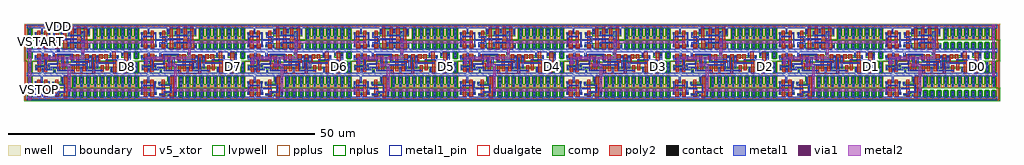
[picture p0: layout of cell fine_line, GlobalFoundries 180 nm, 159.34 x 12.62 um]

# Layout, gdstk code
import gdstk
lib = gdstk.Library(unit=1e-6, precision=1e-09)
def R(c, l, rs):  # rectangles x0, y0, x1, y1
    for r in rs: c.add(gdstk.rectangle(r[:2], r[2:], *l))
def A(c, l, x, y, w, h, nx, ny, dx, dy):  # array of equal rectangles
    R(c, l, [(x+i*dx, y+j*dy, x+i*dx+w, y+j*dy+h) for i in range(nx) for j in range(ny)])
def P(c, l, *ps):  # polygons
    for p in ps: c.add(gdstk.Polygon(p, *l))
boundary = (0, 0)
nwell = (21, 0)
comp = (22, 0)
poly2 = (30, 0)
pplus = (31, 0)
nplus = (32, 0)
contact = (33, 0)
metal1 = (34, 0)
metal1_pin = (34, 10)
via1 = (35, 0)
metal2 = (36, 0)
dualgate = (55, 0)
v5_xtor = (112, 1)
lvpwell = (204, 0)

gf180mcu_fd_sc_mcu7t5v0_ = lib.new_cell('gf180mcu_fd_sc_mcu7t5v0__dlya_1')
R(gf180mcu_fd_sc_mcu7t5v0_, boundary, [(0,0,6.16,3.92)])
R(gf180mcu_fd_sc_mcu7t5v0_, nwell, [(-0.43,1.76,6.59,4.35)])
R(gf180mcu_fd_sc_mcu7t5v0_, comp, [(0.18,0.63,2.78,0.99), (0.18,2.475,2.68,2.835)])
P(gf180mcu_fd_sc_mcu7t5v0_, comp, [(4.48,0.34),(4.48,0.47),(3.14,0.47),(3.14,0.83),(4.49,0.83),(4.49,1.16),(5.96,1.16),(5.96,0.34)],
  [(3.04,2.36),(3.04,2.72),(4.49,2.72),(4.49,3.58),(5.96,3.58),(5.96,2.36)])
P(gf180mcu_fd_sc_mcu7t5v0_, poly2, [(0.62,0.41),(0.62,3.055),(1.12,3.055),(1.12,1.415),(1.22,1.415),(1.22,0.41)],
  [(1.74,0.41),(1.74,3.055),(2.24,3.055),(2.24,1.415),(2.34,1.415),(2.34,0.41)],
  [(3.58,0.25),(3.58,3.055),(4.08,3.055),(4.08,1.74),(4.18,1.74),(4.18,0.25)],
  [(4.92,0.12),(4.92,1.985),(5.02,1.985),(5.02,3.8),(5.52,3.8),(5.52,0.12)])
R(gf180mcu_fd_sc_mcu7t5v0_, pplus, [(-0.2,1.76,6.36,4.12)])
R(gf180mcu_fd_sc_mcu7t5v0_, nplus, [(-0.2,-0.2,6.36,1.76)])
A(gf180mcu_fd_sc_mcu7t5v0_, contact, 0.25, 0.7, 0.22, 0.22, 3, 1, 1.12, 0)
R(gf180mcu_fd_sc_mcu7t5v0_, contact, [(4.55,0.41,4.77,0.63), (3.21,0.54,3.43,0.76), (5.67,0.865,5.89,1.085), (0.765,1.33,0.985,1.55), (3.78,1.5,4,1.72), (4.99,1.585,5.21,1.805), (1.81,2.03,2.03,2.25), (3.11,2.43,3.33,2.65), (0.25,2.545,0.47,2.765), (1.27,2.545,1.49,2.765), (2.39,2.545,2.61,2.765), (4.65,2.63,4.87,2.85), (5.67,2.63,5.89,2.85), (4.65,3.1,4.87,3.32), (5.67,3.1,5.89,3.32)])
R(gf180mcu_fd_sc_mcu7t5v0_, metal1, [(5.65,0.55,6.02,3.38), (0.705,1.21,1.845,1.61)])
P(gf180mcu_fd_sc_mcu7t5v0_, metal1, [(0.245,0.64),(0.245,2.825),(0.475,2.825),(0.475,2.255),(2.135,2.255),(2.135,2.025),(0.475,2.025),(0.475,0.64)],
  [(2.385,0.64),(2.385,2.825),(2.615,2.825),(2.615,1.725),(4.18,1.725),(4.18,1.495),(2.715,1.495),(2.715,0.64)],
  [(3.145,0.53),(3.145,0.765),(3.87,0.765),(3.87,1.18),(4.985,1.18),(4.985,2.05),(3.105,2.05),(3.105,2.71),(3.335,2.71),(3.335,2.28),(5.215,2.28),(5.215,0.95),(4.105,0.95),(4.105,0.53)],
  [(0,-0.3),(0,0.3),(1.365,0.3),(1.365,0.98),(1.595,0.98),(1.595,0.3),(4.545,0.3),(4.545,0.69),(4.775,0.69),(4.775,0.3),(6.16,0.3),(6.16,-0.3)],
  [(4.645,2.53),(4.645,3.62),(1.55,3.62),(1.55,2.54),(1.21,2.54),(1.21,3.62),(0,3.62),(0,4.22),(6.16,4.22),(6.16,3.62),(4.875,3.62),(4.875,2.53)])
R(gf180mcu_fd_sc_mcu7t5v0_, dualgate, [(-0.28,-0.28,6.44,4.2)])
R(gf180mcu_fd_sc_mcu7t5v0_, v5_xtor, [(0,0,6.16,3.92)])
R(gf180mcu_fd_sc_mcu7t5v0_, lvpwell, [(-0.43,-0.43,6.59,1.76)])
gf180mcu_fd_sc_mcu7t5v0_.add(gdstk.Label('VSS', (1.4,0), layer=34, texttype=10))
gf180mcu_fd_sc_mcu7t5v0_.add(gdstk.Label('Z', (5.88,1.96), layer=34, texttype=10))
gf180mcu_fd_sc_mcu7t5v0_.add(gdstk.Label('I', (1.4,1.4), layer=34, texttype=10))
gf180mcu_fd_sc_mcu7t5v0_.add(gdstk.Label('VDD', (1.4,3.92), layer=34, texttype=10))
gf180mcu_fd_sc_mcu7t5v0_.add(gdstk.Label('& Vendor GLOBALFOUNDRIES', (0,2), layer=63, texttype=63))
gf180mcu_fd_sc_mcu7t5v0_.add(gdstk.Label('& Product GF018hv5v_mcu_sc7', (0,1.5), layer=63, texttype=63))
gf180mcu_fd_sc_mcu7t5v0_.add(gdstk.Label('& Version 2015q2v1', (0,1), layer=63, texttype=63))
gf180mcu_fd_sc_mcu7t5v0_.add(gdstk.Label('& Metric 1.00', (0,0.5), layer=63, texttype=63))
gf180mcu_fd_sc_mcu7t5v0_.add(gdstk.Label('VNW', (0.345,3.92), layer=21, texttype=10))
gf180mcu_fd_sc_mcu7t5v0_.add(gdstk.Label('VPW', (0.34,-0.085), layer=204, texttype=10))

c_gf180mcu_fd_sc_mcu7t5v0_ = lib.new_cell('gf180mcu_fd_sc_mcu7t5v0__endcap')
R(c_gf180mcu_fd_sc_mcu7t5v0_, boundary, [(0,0,1.12,3.92)])
R(c_gf180mcu_fd_sc_mcu7t5v0_, nwell, [(-0.43,1.76,1.55,4.35)])
R(c_gf180mcu_fd_sc_mcu7t5v0_, comp, [(0.28,0.28,0.8,1.28), (0.36,1.92,0.72,3.56)])
R(c_gf180mcu_fd_sc_mcu7t5v0_, pplus, [(0.2,0.2,0.88,1.36)])
P(c_gf180mcu_fd_sc_mcu7t5v0_, pplus, [(-0.2,1.76),(-0.2,4.12),(1.32,4.12),(1.32,1.76),(0.88,1.76),(0.88,3.72),(0.2,3.72),(0.2,1.76)])
P(c_gf180mcu_fd_sc_mcu7t5v0_, nplus, [(-0.2,-0.2),(-0.2,1.76),(0.2,1.76),(0.2,3.72),(0.88,3.72),(0.88,1.36),(0.2,1.36),(0.2,0.2),(0.88,0.2),(0.88,3.72),(0.88,1.76),(1.32,1.76),(1.32,-0.2)])
A(c_gf180mcu_fd_sc_mcu7t5v0_, contact, 0.43, 1.99, 0.22, 0.22, 1, 3, 0, 0.64)
R(c_gf180mcu_fd_sc_mcu7t5v0_, contact, [(0.43,0.4,0.65,0.62), (0.43,0.905,0.65,1.125)])
P(c_gf180mcu_fd_sc_mcu7t5v0_, metal1, [(0,-0.3),(0,0.3),(0.37,0.3),(0.37,1.19),(0.71,1.19),(0.71,0.3),(1.12,0.3),(1.12,-0.3)],
  [(0.37,1.92),(0.37,3.62),(0,3.62),(0,4.22),(1.12,4.22),(1.12,3.62),(0.71,3.62),(0.71,1.92)])
R(c_gf180mcu_fd_sc_mcu7t5v0_, dualgate, [(-0.28,-0.28,1.4,4.2)])
R(c_gf180mcu_fd_sc_mcu7t5v0_, v5_xtor, [(0,0,1.12,3.92)])
R(c_gf180mcu_fd_sc_mcu7t5v0_, lvpwell, [(-0.43,-0.43,1.55,1.76)])
c_gf180mcu_fd_sc_mcu7t5v0_.add(gdstk.Label('VSS', (0.56,-0.01), layer=34, texttype=10))
c_gf180mcu_fd_sc_mcu7t5v0_.add(gdstk.Label('VDD', (0.56,3.935), layer=34, texttype=10))
c_gf180mcu_fd_sc_mcu7t5v0_.add(gdstk.Label('& Vendor GLOBALFOUNDRIES', (0,2), layer=63, texttype=63))
c_gf180mcu_fd_sc_mcu7t5v0_.add(gdstk.Label('& Product GF018hv5v_mcu_sc7', (0,1.5), layer=63, texttype=63))
c_gf180mcu_fd_sc_mcu7t5v0_.add(gdstk.Label('& Version 2015q2v1', (0,1), layer=63, texttype=63))
c_gf180mcu_fd_sc_mcu7t5v0_.add(gdstk.Label('& Metric 1.00', (0,0.5), layer=63, texttype=63))

c_gf180mcu_fd_sc_mcu7t5v0__ = lib.new_cell('gf180mcu_fd_sc_mcu7t5v0__filltie')
R(c_gf180mcu_fd_sc_mcu7t5v0__, boundary, [(0,0,1.12,3.92)])
R(c_gf180mcu_fd_sc_mcu7t5v0__, nwell, [(-0.43,1.76,1.55,4.35)])
R(c_gf180mcu_fd_sc_mcu7t5v0__, comp, [(0.28,0.28,0.84,1.28), (0.36,1.92,0.76,3.56)])
R(c_gf180mcu_fd_sc_mcu7t5v0__, pplus, [(0.2,0.2,0.92,1.36)])
P(c_gf180mcu_fd_sc_mcu7t5v0__, pplus, [(-0.2,1.76),(-0.2,4.12),(1.32,4.12),(1.32,1.76),(0.92,1.76),(0.92,3.72),(0.2,3.72),(0.2,1.76)])
P(c_gf180mcu_fd_sc_mcu7t5v0__, nplus, [(-0.2,-0.2),(-0.2,1.76),(0.2,1.76),(0.2,3.72),(0.92,3.72),(0.92,1.36),(0.2,1.36),(0.2,0.2),(0.92,0.2),(0.92,3.72),(0.92,1.76),(1.32,1.76),(1.32,-0.2)])
A(c_gf180mcu_fd_sc_mcu7t5v0__, contact, 0.45, 1.99, 0.22, 0.22, 1, 3, 0, 0.64)
R(c_gf180mcu_fd_sc_mcu7t5v0__, contact, [(0.45,0.4,0.67,0.62), (0.45,0.905,0.67,1.125)])
P(c_gf180mcu_fd_sc_mcu7t5v0__, metal1, [(0,-0.3),(0,0.3),(0.39,0.3),(0.39,1.185),(0.73,1.185),(0.73,0.3),(1.12,0.3),(1.12,-0.3)],
  [(0.39,1.93),(0.39,3.62),(0,3.62),(0,4.22),(1.12,4.22),(1.12,3.62),(0.73,3.62),(0.73,1.93)])
R(c_gf180mcu_fd_sc_mcu7t5v0__, dualgate, [(-0.28,-0.28,1.4,4.2)])
R(c_gf180mcu_fd_sc_mcu7t5v0__, v5_xtor, [(0,0,1.12,3.92)])
R(c_gf180mcu_fd_sc_mcu7t5v0__, lvpwell, [(-0.43,-0.43,1.55,1.76)])
c_gf180mcu_fd_sc_mcu7t5v0__.add(gdstk.Label('VDD', (0.57,3.92), layer=34, texttype=10))
c_gf180mcu_fd_sc_mcu7t5v0__.add(gdstk.Label('VSS', (0.57,0), layer=34, texttype=10))
c_gf180mcu_fd_sc_mcu7t5v0__.add(gdstk.Label('& Vendor GLOBALFOUNDRIES', (0,2), layer=63, texttype=63))
c_gf180mcu_fd_sc_mcu7t5v0__.add(gdstk.Label('& Product GF018hv5v_mcu_sc7', (0,1.5), layer=63, texttype=63))
c_gf180mcu_fd_sc_mcu7t5v0__.add(gdstk.Label('& Version 2015q2v1', (0,1), layer=63, texttype=63))
c_gf180mcu_fd_sc_mcu7t5v0__.add(gdstk.Label('& Metric 1.00', (0,0.5), layer=63, texttype=63))

c_gf180mcu_fd_sc_mcu7t5v0___ = lib.new_cell('gf180mcu_fd_sc_mcu7t5v0__dffq_1')
R(c_gf180mcu_fd_sc_mcu7t5v0___, boundary, [(0,0,16.24,3.92)])
P(c_gf180mcu_fd_sc_mcu7t5v0___, nwell, [(-0.43,1.76),(-0.43,4.35),(16.67,4.35),(16.67,1.76),(6.12,1.76),(6.12,1.885),(4.865,1.885),(4.865,1.76)])
R(c_gf180mcu_fd_sc_mcu7t5v0___, comp, [(14.36,0.34,15.84,1.16), (0.18,0.755,2.78,1.16), (0.28,2.36,2.68,3.225), (14.3,2.36,15.68,3.58)])
P(c_gf180mcu_fd_sc_mcu7t5v0___, comp, [(7.78,0.29),(7.78,0.795),(3.14,0.795),(3.14,1.155),(5.32,1.155),(5.32,1.285),(5.68,1.285),(5.68,1.155),(13.9,1.155),(13.9,0.755),(12.42,0.755),(12.42,0.795),(8.14,0.795),(8.14,0.29)],
  [(3.24,2.635),(3.24,3.6),(3.6,3.6),(3.6,2.995),(12.56,2.995),(12.56,3.435),(13.94,3.435),(13.94,2.635)])
R(c_gf180mcu_fd_sc_mcu7t5v0___, poly2, [(6.04,0.575,6.64,1.62), (9.56,0.575,10.16,1.615), (10.98,2.415,11.48,3.455)])
P(c_gf180mcu_fd_sc_mcu7t5v0___, poly2, [(0.62,0.535),(0.62,1.44),(0.72,1.44),(0.72,3.45),(1.22,3.45),(1.22,0.535)],
  [(1.74,0.535),(1.74,3.45),(2.24,3.45),(2.24,1.66),(4.18,1.66),(4.18,0.575),(3.58,0.575),(3.58,1.46),(2.34,1.46),(2.34,0.535)],
  [(3.78,1.975),(3.78,2.335),(3.9,2.335),(3.9,3.36),(4.4,3.36),(4.4,1.975)],
  [(4.42,0.575),(4.42,1.62),(4.7,1.62),(4.7,3.36),(5.2,3.36),(5.2,1.585),(5.02,1.585),(5.02,0.575)],
  [(6.88,0.575),(6.88,1.375),(6.98,1.375),(6.98,3.36),(7.48,3.36),(7.48,0.575)],
  [(8.44,0.575),(8.44,1.78),(8.06,1.78),(8.06,3.36),(8.56,3.36),(8.56,1.98),(9.04,1.98),(9.04,0.575)],
  [(10.68,0.575),(10.68,1.86),(9.555,1.86),(9.555,3.6),(6.74,3.6),(6.74,2.355),(6.24,2.355),(6.24,3.8),(10.055,3.8),(10.055,2.06),(10.88,2.06),(10.88,1.375),(11.28,1.375),(11.28,0.575)],
  [(11.52,0.575),(11.52,1.375),(11.76,1.375),(11.76,3.215),(12.26,3.215),(12.26,2.08),(12.12,2.08),(12.12,0.575)],
  [(12.86,0.12),(12.86,1.44),(13,1.44),(13,3.8),(13.5,3.8),(13.5,1.555),(13.46,1.555),(13.46,0.12)],
  [(14.8,0.12),(14.8,2.08),(14.74,2.08),(14.74,3.8),(15.24,3.8),(15.24,1.85),(15.4,1.85),(15.4,0.12)])
P(c_gf180mcu_fd_sc_mcu7t5v0___, pplus, [(-0.2,1.76),(-0.2,4.12),(16.44,4.12),(16.44,1.76),(6.12,1.76),(6.12,1.885),(4.865,1.885),(4.865,1.76)])
P(c_gf180mcu_fd_sc_mcu7t5v0___, nplus, [(-0.2,-0.2),(-0.2,1.76),(4.865,1.76),(4.865,1.885),(6.12,1.885),(6.12,1.76),(16.44,1.76),(16.44,-0.2)])
R(c_gf180mcu_fd_sc_mcu7t5v0___, contact, [(7.85,0.36,8.07,0.58), (14.43,0.61,14.65,0.83), (15.55,0.61,15.77,0.83), (1.37,0.825,1.59,1.045), (12.49,0.825,12.71,1.045), (13.61,0.825,13.83,1.045), (3.21,0.865,3.43,1.085), (9.19,0.865,9.41,1.085), (10.31,0.865,10.53,1.085), (0.25,0.87,0.47,1.09), (2.49,0.87,2.71,1.09), (5.39,0.995,5.61,1.215), (7.19,1.325,7.41,1.545), (9.725,1.325,9.945,1.545), (4.635,1.33,4.855,1.55), (6.17,1.33,6.39,1.55), (1.92,1.34,2.14,1.56), (11.83,1.405,12.05,1.625), (14.87,1.56,15.09,1.78), (0.79,1.855,1.01,2.075), (13.07,1.9,13.29,2.12), (3.85,2.045,4.07,2.265), (8.13,2.245,8.35,2.465), (2.39,2.43,2.61,2.65), (5.67,2.705,5.89,2.925), (7.69,2.705,7.91,2.925), (9.185,2.705,9.405,2.925), (10.31,2.705,10.53,2.925), (12.63,2.75,12.85,2.97), (13.65,2.75,13.87,2.97), (14.37,2.75,14.59,2.97), (15.39,2.75,15.61,2.97), (0.35,2.87,0.57,3.09), (1.37,2.935,1.59,3.155), (6.31,3.165,6.53,3.385), (11.05,3.165,11.27,3.385), (14.37,3.22,14.59,3.44), (3.31,3.245,3.53,3.465)])
R(c_gf180mcu_fd_sc_mcu7t5v0___, metal1, [(4.57,1.21,4.975,2.71), (0.65,1.77,1.59,2.15)])
P(c_gf180mcu_fd_sc_mcu7t5v0___, metal1, [(0.245,0.81),(0.245,1.51),(1.915,1.51),(1.915,2.47),(0.345,2.47),(0.345,3.155),(0.575,3.155),(0.575,2.7),(1.915,2.7),(1.915,3.215),(3.075,3.215),(3.075,2.885),(3.89,2.885),(3.89,3.39),(6.59,3.39),(6.59,3.16),(4.12,3.16),(4.12,2.65),(2.845,2.65),(2.845,2.98),(2.145,2.98),(2.145,1.28),(0.475,1.28),(0.475,0.81)],
  [(5.325,0.99),(5.325,2.47),(5.61,2.47),(5.61,2.93),(5.95,2.93),(5.95,2.47),(8.41,2.47),(8.41,2.24),(5.67,2.24),(5.67,0.99)],
  [(9.13,0.86),(9.13,1.32),(7.13,1.32),(7.13,1.55),(9.125,1.55),(9.125,2.93),(9.47,2.93),(9.47,0.86)],
  [(3.845,0.53),(3.845,1.325),(2.715,1.325),(2.715,0.81),(2.485,0.81),(2.485,1.555),(3.845,1.555),(3.845,2.09),(2.385,2.09),(2.385,2.71),(2.615,2.71),(2.615,2.325),(4.075,2.325),(4.075,0.76),(6.165,0.76),(6.165,2.01),(8.64,2.01),(8.64,3.39),(11.33,3.39),(11.33,3.16),(9.95,3.16),(9.95,1.225),(9.72,1.225),(9.72,3.16),(8.87,3.16),(8.87,1.78),(6.395,1.78),(6.395,0.53)],
  [(10.25,0.86),(10.25,2.93),(10.59,2.93),(10.59,2.13),(13.35,2.13),(13.35,1.895),(10.59,1.895),(10.59,0.86)],
  [(13.605,0.755),(13.605,1.4),(11.77,1.4),(11.77,1.63),(13.645,1.63),(13.645,3.03),(13.875,3.03),(13.875,1.84),(15.095,1.84),(15.095,1.5),(13.87,1.5),(13.87,0.755)],
  [(15.47,0.55),(15.47,2.33),(14.835,2.33),(14.835,2.975),(15.85,2.975),(15.85,0.55)],
  [(0,-0.3),(0,0.3),(1.31,0.3),(1.31,1.05),(1.65,1.05),(1.65,0.3),(3.15,0.3),(3.15,1.09),(3.49,1.09),(3.49,0.3),(7.79,0.3),(7.79,0.585),(8.13,0.585),(8.13,0.3),(12.485,0.3),(12.485,1.105),(12.715,1.105),(12.715,0.3),(14.425,0.3),(14.425,0.89),(14.655,0.89),(14.655,0.3),(16.24,0.3),(16.24,-0.3)],
  [(12.625,2.635),(12.625,3.62),(7.97,3.62),(7.97,2.7),(7.63,2.7),(7.63,3.62),(3.535,3.62),(3.535,3.185),(3.305,3.185),(3.305,3.62),(1.65,3.62),(1.65,2.93),(1.31,2.93),(1.31,3.62),(0,3.62),(0,4.22),(16.24,4.22),(16.24,3.62),(14.595,3.62),(14.595,2.635),(14.365,2.635),(14.365,3.62),(12.855,3.62),(12.855,2.635)])
R(c_gf180mcu_fd_sc_mcu7t5v0___, dualgate, [(-0.28,-0.28,16.52,4.2)])
R(c_gf180mcu_fd_sc_mcu7t5v0___, v5_xtor, [(0,0,16.24,3.92)])
P(c_gf180mcu_fd_sc_mcu7t5v0___, lvpwell, [(-0.43,-0.43),(-0.43,1.76),(4.865,1.76),(4.865,1.885),(6.12,1.885),(6.12,1.76),(16.67,1.76),(16.67,-0.43)])
c_gf180mcu_fd_sc_mcu7t5v0___.add(gdstk.Label('VDD', (1.4,3.92), layer=34, texttype=10))
c_gf180mcu_fd_sc_mcu7t5v0___.add(gdstk.Label('Q', (15.4,2.52), layer=34, texttype=10))
c_gf180mcu_fd_sc_mcu7t5v0___.add(gdstk.Label('CLK', (0.84,1.96), layer=34, texttype=10))
c_gf180mcu_fd_sc_mcu7t5v0___.add(gdstk.Label('VSS', (1.4,0), layer=34, texttype=10))
c_gf180mcu_fd_sc_mcu7t5v0___.add(gdstk.Label('D', (4.76,1.96), layer=34, texttype=10))
c_gf180mcu_fd_sc_mcu7t5v0___.add(gdstk.Label('& Vendor GLOBALFOUNDRIES', (0,2), layer=63, texttype=63))
c_gf180mcu_fd_sc_mcu7t5v0___.add(gdstk.Label('& Product GF018hv5v_mcu_sc7', (0,1.5), layer=63, texttype=63))
c_gf180mcu_fd_sc_mcu7t5v0___.add(gdstk.Label('& Version 2015q2v1', (0,1), layer=63, texttype=63))
c_gf180mcu_fd_sc_mcu7t5v0___.add(gdstk.Label('& Metric 1.00', (0,0.5), layer=63, texttype=63))
c_gf180mcu_fd_sc_mcu7t5v0___.add(gdstk.Label('VNW', (0.345,3.92), layer=21, texttype=10))
c_gf180mcu_fd_sc_mcu7t5v0___.add(gdstk.Label('VPW', (0.34,-0.085), layer=204, texttype=10))

c_gf180mcu_fd_sc_mcu7t5v0____ = lib.new_cell('gf180mcu_fd_sc_mcu7t5v0__dlya_4')
R(c_gf180mcu_fd_sc_mcu7t5v0____, boundary, [(0,0,9.52,3.92)])
R(c_gf180mcu_fd_sc_mcu7t5v0____, nwell, [(-0.43,1.76,9.95,4.35)])
R(c_gf180mcu_fd_sc_mcu7t5v0____, comp, [(0.185,0.55,2.785,0.91), (0.185,2.63,2.685,2.99)])
P(c_gf180mcu_fd_sc_mcu7t5v0____, comp, [(4.435,2.36),(4.435,2.63),(3.195,2.63),(3.195,2.99),(4.435,2.99),(4.435,3.58),(9.185,3.58),(9.185,2.36)],
  [(4.485,0.34),(4.485,0.55),(3.145,0.55),(3.145,0.91),(4.485,0.91),(4.485,1.16),(9.285,1.16),(9.285,0.34)])
P(c_gf180mcu_fd_sc_mcu7t5v0____, poly2, [(0.625,0.33),(0.625,3.21),(1.125,3.21),(1.125,1.13),(1.225,1.13),(1.225,0.33)],
  [(1.745,0.33),(1.745,3.21),(2.245,3.21),(2.245,1.13),(2.345,1.13),(2.345,0.33)],
  [(3.585,0.33),(3.585,1.13),(3.635,1.13),(3.635,3.21),(4.135,3.21),(4.135,1.13),(4.185,1.13),(4.185,0.33)],
  [(4.885,0.12),(4.885,3.8),(5.385,3.8),(5.385,2.035),(6.055,2.035),(6.055,3.8),(6.555,3.8),(6.555,2.035),(7.175,2.035),(7.175,3.8),(7.675,3.8),(7.675,2.035),(8.245,2.035),(8.245,3.8),(8.745,3.8),(8.745,1.44),(8.845,1.44),(8.845,0.12),(8.245,0.12),(8.245,1.675),(7.725,1.675),(7.725,0.12),(7.125,0.12),(7.125,1.675),(6.605,1.675),(6.605,0.12),(6.005,0.12),(6.005,1.675),(5.485,1.675),(5.485,0.12)])
R(c_gf180mcu_fd_sc_mcu7t5v0____, pplus, [(-0.2,1.76,9.72,4.12)])
R(c_gf180mcu_fd_sc_mcu7t5v0____, nplus, [(-0.2,-0.2,9.72,1.76)])
A(c_gf180mcu_fd_sc_mcu7t5v0____, contact, 0.255, 0.62, 0.22, 0.22, 3, 1, 1.12, 0)
A(c_gf180mcu_fd_sc_mcu7t5v0____, contact, 5.635, 0.66, 0.22, 0.22, 4, 1, 1.12, 0)
A(c_gf180mcu_fd_sc_mcu7t5v0____, contact, 4.955, 1.745, 0.22, 0.22, 5, 1, 0.47, 0)
R(c_gf180mcu_fd_sc_mcu7t5v0____, contact, [(3.215,0.62,3.435,0.84), (4.335,0.62,4.555,0.84), (0.77,1.29,0.99,1.51), (3.705,1.605,3.925,1.825), (1.815,2.18,2.035,2.4), (4.515,2.665,4.735,2.885), (8.895,2.665,9.115,2.885), (0.255,2.7,0.475,2.92), (1.275,2.7,1.495,2.92), (2.395,2.7,2.615,2.92), (3.265,2.7,3.485,2.92), (6.705,2.82,6.925,3.04), (5.685,2.88,5.905,3.1), (7.825,2.88,8.045,3.1), (4.515,3.135,4.735,3.355), (8.895,3.135,9.115,3.355), (6.705,3.29,6.925,3.51)])
R(c_gf180mcu_fd_sc_mcu7t5v0____, metal1, [(0.71,1.21,2.15,1.59)])
P(c_gf180mcu_fd_sc_mcu7t5v0____, metal1, [(0.25,0.56),(0.25,2.98),(0.48,2.98),(0.48,2.405),(2.095,2.405),(2.095,2.175),(0.48,2.175),(0.48,0.56)],
  [(2.49,0.56),(2.49,2.64),(2.39,2.64),(2.39,2.98),(2.72,2.98),(2.72,1.83),(3.985,1.83),(3.985,1.6),(2.72,1.6),(2.72,0.56)],
  [(3.21,0.56),(3.21,1.37),(4.215,1.37),(4.215,2.06),(3.26,2.06),(3.26,2.98),(3.49,2.98),(3.49,2.295),(4.445,2.295),(4.445,2.025),(7.06,2.025),(7.06,1.685),(4.445,1.685),(4.445,1.135),(3.44,1.135),(3.44,0.56)],
  [(5.63,0.6),(5.63,1.405),(7.82,1.405),(7.82,2.35),(5.68,2.35),(5.68,3.16),(5.91,3.16),(5.91,2.58),(7.82,2.58),(7.82,3.16),(8.39,3.16),(8.39,0.6),(7.87,0.6),(7.87,1.17),(5.86,1.17),(5.86,0.6)],
  [(0,-0.3),(0,0.3),(1.315,0.3),(1.315,0.845),(1.655,0.845),(1.655,0.3),(4.33,0.3),(4.33,0.905),(4.56,0.905),(4.56,0.3),(6.75,0.3),(6.75,0.94),(6.98,0.94),(6.98,0.3),(8.99,0.3),(8.99,0.94),(9.22,0.94),(9.22,0.3),(9.52,0.3),(9.52,-0.3)],
  [(8.89,2.605),(8.89,3.62),(6.985,3.62),(6.985,2.81),(6.645,2.81),(6.645,3.62),(4.795,3.62),(4.795,2.66),(4.455,2.66),(4.455,3.62),(1.5,3.62),(1.5,2.635),(1.27,2.635),(1.27,3.62),(0,3.62),(0,4.22),(9.52,4.22),(9.52,3.62),(9.12,3.62),(9.12,2.605)])
R(c_gf180mcu_fd_sc_mcu7t5v0____, dualgate, [(-0.28,-0.28,9.8,4.2)])
R(c_gf180mcu_fd_sc_mcu7t5v0____, v5_xtor, [(0,0,9.52,3.92)])
R(c_gf180mcu_fd_sc_mcu7t5v0____, lvpwell, [(-0.43,-0.43,9.95,1.76)])
c_gf180mcu_fd_sc_mcu7t5v0____.add(gdstk.Label('VSS', (1.4,0), layer=34, texttype=10))
c_gf180mcu_fd_sc_mcu7t5v0____.add(gdstk.Label('Z', (8.12,1.96), layer=34, texttype=10))
c_gf180mcu_fd_sc_mcu7t5v0____.add(gdstk.Label('I', (1.4,1.4), layer=34, texttype=10))
c_gf180mcu_fd_sc_mcu7t5v0____.add(gdstk.Label('VDD', (1.4,3.92), layer=34, texttype=10))
c_gf180mcu_fd_sc_mcu7t5v0____.add(gdstk.Label('& Vendor GLOBALFOUNDRIES', (0,2), layer=63, texttype=63))
c_gf180mcu_fd_sc_mcu7t5v0____.add(gdstk.Label('& Product GF018hv5v_mcu_sc7', (0,1.5), layer=63, texttype=63))
c_gf180mcu_fd_sc_mcu7t5v0____.add(gdstk.Label('& Version 2015q2v1', (0,1), layer=63, texttype=63))
c_gf180mcu_fd_sc_mcu7t5v0____.add(gdstk.Label('& Metric 1.00', (0,0.5), layer=63, texttype=63))
c_gf180mcu_fd_sc_mcu7t5v0____.add(gdstk.Label('VNW', (0.345,3.92), layer=21, texttype=10))
c_gf180mcu_fd_sc_mcu7t5v0____.add(gdstk.Label('VPW', (0.34,-0.085), layer=204, texttype=10))

fine_line = lib.new_cell('fine_line')
A(fine_line, nplus, 8.2, 1.76, 0.4, 0.59, 9, 1, 1.12, 0)
A(fine_line, nplus, 25.56, 1.76, 0.4, 0.59, 9, 1, 1.12, 0)
A(fine_line, nplus, 42.92, 1.76, 0.4, 0.59, 9, 1, 1.12, 0)
A(fine_line, nplus, 60.28, 1.76, 0.4, 0.59, 9, 1, 1.12, 0)
A(fine_line, nplus, 77.64, 1.76, 0.4, 0.59, 9, 1, 1.12, 0)
A(fine_line, nplus, 95, 1.76, 0.4, 0.59, 9, 1, 1.12, 0)
A(fine_line, nplus, 112.36, 1.76, 0.4, 0.59, 9, 1, 1.12, 0)
A(fine_line, nplus, 129.72, 1.76, 0.4, 0.59, 9, 1, 1.12, 0)
A(fine_line, nplus, 147.08, 1.76, 0.4, 0.59, 10, 1, 1.12, 0)
A(fine_line, nplus, 11.56, 9.6, 0.4, 0.59, 6, 1, 1.12, 0)
A(fine_line, nplus, 28.92, 9.6, 0.4, 0.59, 6, 1, 1.12, 0)
A(fine_line, nplus, 46.28, 9.6, 0.4, 0.59, 6, 1, 1.12, 0)
A(fine_line, nplus, 63.64, 9.6, 0.4, 0.59, 6, 1, 1.12, 0)
A(fine_line, nplus, 81, 9.6, 0.4, 0.59, 6, 1, 1.12, 0)
A(fine_line, nplus, 98.36, 9.6, 0.4, 0.59, 6, 1, 1.12, 0)
A(fine_line, nplus, 115.72, 9.6, 0.4, 0.59, 6, 1, 1.12, 0)
A(fine_line, nplus, 133.08, 9.6, 0.4, 0.59, 6, 1, 1.12, 0)
A(fine_line, nplus, 150.44, 9.6, 0.4, 0.59, 7, 1, 1.12, 0)
R(fine_line, nplus, [(157.16,5.49,157.56,6.08)])
A(fine_line, metal1, 6.745, 1.15, 0.42, 0.5, 9, 1, 17.36, 0)
A(fine_line, metal1, 2.52, 1.21, 0.38, 0.38, 9, 1, 17.36, 0)
A(fine_line, metal1, 16.2, 4.99, 0.4, 0.4, 9, 1, 17.36, 0)
A(fine_line, metal1, 5.7, 5.25, 0.38, 0.38, 9, 1, 17.36, 0)
A(fine_line, metal1, 2, 5.69, 0.38, 0.38, 9, 1, 17.36, 0)
R(fine_line, metal1, [(0.32,-0.19,0.7,0.19), (1.9,1.25,2.3,1.57), (157.68,3.73,158.06,4.11), (0.32,7.65,0.7,8.03), (5,7.69,5.4,7.99), (2.82,9.05,3.2,9.43), (9.035,9.05,9.415,9.43), (20.18,9.05,20.56,9.43), (26.395,9.05,26.775,9.43), (37.54,9.05,37.92,9.43), (43.755,9.05,44.135,9.43), (54.9,9.05,55.28,9.43), (61.115,9.05,61.495,9.43), (72.26,9.05,72.64,9.43), (78.475,9.05,78.855,9.43), (89.62,9.05,90,9.43), (95.835,9.05,96.215,9.43), (106.98,9.05,107.36,9.43), (113.195,9.05,113.575,9.43), (124.34,9.05,124.72,9.43), (130.555,9.05,130.935,9.43), (141.7,9.05,142.08,9.43), (147.915,9.05,148.295,9.43), (2,9.07,2.4,9.41), (157.68,11.57,158.06,11.95), (5,11.61,5.4,11.91)])
A(fine_line, metal1_pin, 16.2, 4.99, 0.4, 0.4, 9, 1, 17.36, 0)
R(fine_line, metal1_pin, [(1.9,1.25,2.3,1.57), (5,7.69,5.4,7.99), (2,9.07,2.4,9.41), (5,11.61,5.4,11.91)])
A(fine_line, via1, 5.76, 5.31, 0.26, 0.26, 9, 1, 17.36, 0)
A(fine_line, via1, 2.06, 5.75, 0.26, 0.26, 9, 1, 17.36, 0)
R(fine_line, via1, [(0.38,-0.13,0.64,0.13), (2.58,1.27,2.84,1.53), (6.825,1.27,7.085,1.53), (19.94,1.27,20.2,1.53), (24.185,1.27,24.445,1.53), (37.3,1.27,37.56,1.53), (41.545,1.27,41.805,1.53), (54.66,1.27,54.92,1.53), (58.905,1.27,59.165,1.53), (72.02,1.27,72.28,1.53), (76.265,1.27,76.525,1.53), (89.38,1.27,89.64,1.53), (93.625,1.27,93.885,1.53), (106.74,1.27,107,1.53), (110.985,1.27,111.245,1.53), (124.1,1.27,124.36,1.53), (128.345,1.27,128.605,1.53), (141.46,1.27,141.72,1.53), (145.705,1.27,145.965,1.53), (157.74,3.79,158,4.05), (0.38,7.71,0.64,7.97), (2.88,9.11,3.14,9.37), (9.095,9.11,9.355,9.37), (20.24,9.11,20.5,9.37), (26.455,9.11,26.715,9.37), (37.6,9.11,37.86,9.37), (43.815,9.11,44.075,9.37), (54.96,9.11,55.22,9.37), (61.175,9.11,61.435,9.37), (72.32,9.11,72.58,9.37), (78.535,9.11,78.795,9.37), (89.68,9.11,89.94,9.37), (95.895,9.11,96.155,9.37), (107.04,9.11,107.3,9.37), (113.255,9.11,113.515,9.37), (124.4,9.11,124.66,9.37), (130.615,9.11,130.875,9.37), (141.76,9.11,142.02,9.37), (147.975,9.11,148.235,9.37), (157.74,11.63,158,11.89)])
A(fine_line, metal2, 6.685, 1.19, 13.655, 0.42, 8, 1, 17.36, 0)
A(fine_line, metal2, 6.745, 1.61, 0.42, 3.62, 9, 1, 17.36, 0)
A(fine_line, metal2, 5.62, 5.23, 1.545, 0.42, 9, 1, 17.36, 0)
A(fine_line, metal2, 1.98, 5.61, 0.42, 0.79, 9, 1, 17.36, 0)
A(fine_line, metal2, 1.98, 6.4, 7.455, 0.42, 9, 1, 17.36, 0)
A(fine_line, metal2, 9.015, 6.82, 0.42, 2.21, 9, 1, 17.36, 0)
A(fine_line, metal2, 8.955, 9.03, 11.685, 0.42, 8, 1, 17.36, 0)
R(fine_line, metal2, [(0.3,-0.27,0.72,8.11), (2.44,1.19,2.98,1.61), (145.565,1.19,146.105,1.61), (157.66,3.65,158.08,12.03), (2.74,9.03,3.28,9.45), (147.835,9.03,148.375,9.45)])
fine_line.add(gdstk.Reference(gf180mcu_fd_sc_mcu7t5v0_, (1.12,0)))
fine_line.add(gdstk.Reference(c_gf180mcu_fd_sc_mcu7t5v0_, (0,0)))
fine_line.add(gdstk.Reference(c_gf180mcu_fd_sc_mcu7t5v0__, (7.28,0)))
fine_line.add(gdstk.Reference(c_gf180mcu_fd_sc_mcu7t5v0__, (8.4,0)))
fine_line.add(gdstk.Reference(c_gf180mcu_fd_sc_mcu7t5v0__, (9.52,0)))
fine_line.add(gdstk.Reference(c_gf180mcu_fd_sc_mcu7t5v0__, (10.64,0)))
fine_line.add(gdstk.Reference(c_gf180mcu_fd_sc_mcu7t5v0__, (11.76,0)))
fine_line.add(gdstk.Reference(c_gf180mcu_fd_sc_mcu7t5v0__, (12.88,0)))
fine_line.add(gdstk.Reference(c_gf180mcu_fd_sc_mcu7t5v0__, (16.24,0)))
fine_line.add(gdstk.Reference(c_gf180mcu_fd_sc_mcu7t5v0__, (17.36,0)))
fine_line.add(gdstk.Reference(gf180mcu_fd_sc_mcu7t5v0_, (18.48,0)))
fine_line.add(gdstk.Reference(c_gf180mcu_fd_sc_mcu7t5v0__, (14,0)))
fine_line.add(gdstk.Reference(c_gf180mcu_fd_sc_mcu7t5v0__, (15.12,0)))
fine_line.add(gdstk.Reference(c_gf180mcu_fd_sc_mcu7t5v0__, (24.64,0)))
fine_line.add(gdstk.Reference(c_gf180mcu_fd_sc_mcu7t5v0__, (25.76,0)))
fine_line.add(gdstk.Reference(c_gf180mcu_fd_sc_mcu7t5v0__, (26.88,0)))
fine_line.add(gdstk.Reference(c_gf180mcu_fd_sc_mcu7t5v0__, (28,0)))
fine_line.add(gdstk.Reference(c_gf180mcu_fd_sc_mcu7t5v0__, (29.12,0)))
fine_line.add(gdstk.Reference(c_gf180mcu_fd_sc_mcu7t5v0__, (30.24,0)))
fine_line.add(gdstk.Reference(c_gf180mcu_fd_sc_mcu7t5v0__, (33.6,0)))
fine_line.add(gdstk.Reference(c_gf180mcu_fd_sc_mcu7t5v0__, (34.72,0)))
fine_line.add(gdstk.Reference(gf180mcu_fd_sc_mcu7t5v0_, (35.84,0)))
fine_line.add(gdstk.Reference(c_gf180mcu_fd_sc_mcu7t5v0__, (31.36,0)))
fine_line.add(gdstk.Reference(c_gf180mcu_fd_sc_mcu7t5v0__, (32.48,0)))
fine_line.add(gdstk.Reference(c_gf180mcu_fd_sc_mcu7t5v0__, (42,0)))
fine_line.add(gdstk.Reference(c_gf180mcu_fd_sc_mcu7t5v0__, (43.12,0)))
fine_line.add(gdstk.Reference(c_gf180mcu_fd_sc_mcu7t5v0__, (44.24,0)))
fine_line.add(gdstk.Reference(c_gf180mcu_fd_sc_mcu7t5v0__, (45.36,0)))
fine_line.add(gdstk.Reference(c_gf180mcu_fd_sc_mcu7t5v0__, (46.48,0)))
fine_line.add(gdstk.Reference(c_gf180mcu_fd_sc_mcu7t5v0__, (47.6,0)))
fine_line.add(gdstk.Reference(c_gf180mcu_fd_sc_mcu7t5v0__, (50.96,0)))
fine_line.add(gdstk.Reference(c_gf180mcu_fd_sc_mcu7t5v0__, (52.08,0)))
fine_line.add(gdstk.Reference(c_gf180mcu_fd_sc_mcu7t5v0__, (49.84,0)))
fine_line.add(gdstk.Reference(gf180mcu_fd_sc_mcu7t5v0_, (53.2,0)))
fine_line.add(gdstk.Reference(c_gf180mcu_fd_sc_mcu7t5v0__, (48.72,0)))
fine_line.add(gdstk.Reference(c_gf180mcu_fd_sc_mcu7t5v0__, (59.36,0)))
fine_line.add(gdstk.Reference(c_gf180mcu_fd_sc_mcu7t5v0__, (60.48,0)))
fine_line.add(gdstk.Reference(c_gf180mcu_fd_sc_mcu7t5v0__, (61.6,0)))
fine_line.add(gdstk.Reference(c_gf180mcu_fd_sc_mcu7t5v0__, (62.72,0)))
fine_line.add(gdstk.Reference(c_gf180mcu_fd_sc_mcu7t5v0__, (63.84,0)))
fine_line.add(gdstk.Reference(c_gf180mcu_fd_sc_mcu7t5v0__, (64.96,0)))
fine_line.add(gdstk.Reference(c_gf180mcu_fd_sc_mcu7t5v0__, (67.2,0)))
fine_line.add(gdstk.Reference(c_gf180mcu_fd_sc_mcu7t5v0__, (68.32,0)))
fine_line.add(gdstk.Reference(c_gf180mcu_fd_sc_mcu7t5v0__, (69.44,0)))
fine_line.add(gdstk.Reference(gf180mcu_fd_sc_mcu7t5v0_, (70.56,0)))
fine_line.add(gdstk.Reference(c_gf180mcu_fd_sc_mcu7t5v0__, (66.08,0)))
fine_line.add(gdstk.Reference(c_gf180mcu_fd_sc_mcu7t5v0__, (76.72,0)))
fine_line.add(gdstk.Reference(c_gf180mcu_fd_sc_mcu7t5v0__, (77.84,0)))
fine_line.add(gdstk.Reference(c_gf180mcu_fd_sc_mcu7t5v0__, (78.96,0)))
fine_line.add(gdstk.Reference(c_gf180mcu_fd_sc_mcu7t5v0__, (80.08,0)))
fine_line.add(gdstk.Reference(c_gf180mcu_fd_sc_mcu7t5v0__, (81.2,0)))
fine_line.add(gdstk.Reference(c_gf180mcu_fd_sc_mcu7t5v0__, (84.56,0)))
fine_line.add(gdstk.Reference(c_gf180mcu_fd_sc_mcu7t5v0__, (85.68,0)))
fine_line.add(gdstk.Reference(c_gf180mcu_fd_sc_mcu7t5v0__, (86.8,0)))
fine_line.add(gdstk.Reference(gf180mcu_fd_sc_mcu7t5v0_, (87.92,0)))
fine_line.add(gdstk.Reference(c_gf180mcu_fd_sc_mcu7t5v0__, (82.32,0)))
fine_line.add(gdstk.Reference(c_gf180mcu_fd_sc_mcu7t5v0__, (83.44,0)))
fine_line.add(gdstk.Reference(c_gf180mcu_fd_sc_mcu7t5v0__, (94.08,0)))
fine_line.add(gdstk.Reference(c_gf180mcu_fd_sc_mcu7t5v0__, (95.2,0)))
fine_line.add(gdstk.Reference(c_gf180mcu_fd_sc_mcu7t5v0__, (96.32,0)))
fine_line.add(gdstk.Reference(c_gf180mcu_fd_sc_mcu7t5v0__, (97.44,0)))
fine_line.add(gdstk.Reference(c_gf180mcu_fd_sc_mcu7t5v0__, (98.56,0)))
fine_line.add(gdstk.Reference(c_gf180mcu_fd_sc_mcu7t5v0__, (99.68,0)))
fine_line.add(gdstk.Reference(c_gf180mcu_fd_sc_mcu7t5v0__, (101.92,0)))
fine_line.add(gdstk.Reference(c_gf180mcu_fd_sc_mcu7t5v0__, (100.8,0)))
fine_line.add(gdstk.Reference(c_gf180mcu_fd_sc_mcu7t5v0__, (103.04,0)))
fine_line.add(gdstk.Reference(c_gf180mcu_fd_sc_mcu7t5v0__, (104.16,0)))
fine_line.add(gdstk.Reference(gf180mcu_fd_sc_mcu7t5v0_, (105.28,0)))
fine_line.add(gdstk.Reference(c_gf180mcu_fd_sc_mcu7t5v0__, (111.44,0)))
fine_line.add(gdstk.Reference(c_gf180mcu_fd_sc_mcu7t5v0__, (112.56,0)))
fine_line.add(gdstk.Reference(c_gf180mcu_fd_sc_mcu7t5v0__, (113.68,0)))
fine_line.add(gdstk.Reference(c_gf180mcu_fd_sc_mcu7t5v0__, (114.8,0)))
fine_line.add(gdstk.Reference(c_gf180mcu_fd_sc_mcu7t5v0__, (115.92,0)))
fine_line.add(gdstk.Reference(c_gf180mcu_fd_sc_mcu7t5v0__, (117.04,0)))
fine_line.add(gdstk.Reference(c_gf180mcu_fd_sc_mcu7t5v0__, (118.16,0)))
fine_line.add(gdstk.Reference(c_gf180mcu_fd_sc_mcu7t5v0__, (119.28,0)))
fine_line.add(gdstk.Reference(c_gf180mcu_fd_sc_mcu7t5v0__, (120.4,0)))
fine_line.add(gdstk.Reference(c_gf180mcu_fd_sc_mcu7t5v0__, (121.52,0)))
fine_line.add(gdstk.Reference(gf180mcu_fd_sc_mcu7t5v0_, (122.64,0)))
fine_line.add(gdstk.Reference(c_gf180mcu_fd_sc_mcu7t5v0__, (128.8,0)))
fine_line.add(gdstk.Reference(c_gf180mcu_fd_sc_mcu7t5v0__, (129.92,0)))
fine_line.add(gdstk.Reference(c_gf180mcu_fd_sc_mcu7t5v0__, (131.04,0)))
fine_line.add(gdstk.Reference(c_gf180mcu_fd_sc_mcu7t5v0__, (132.16,0)))
fine_line.add(gdstk.Reference(c_gf180mcu_fd_sc_mcu7t5v0__, (133.28,0)))
fine_line.add(gdstk.Reference(c_gf180mcu_fd_sc_mcu7t5v0__, (134.4,0)))
fine_line.add(gdstk.Reference(c_gf180mcu_fd_sc_mcu7t5v0__, (135.52,0)))
fine_line.add(gdstk.Reference(c_gf180mcu_fd_sc_mcu7t5v0__, (136.64,0)))
fine_line.add(gdstk.Reference(c_gf180mcu_fd_sc_mcu7t5v0__, (137.76,0)))
fine_line.add(gdstk.Reference(c_gf180mcu_fd_sc_mcu7t5v0__, (138.88,0)))
fine_line.add(gdstk.Reference(gf180mcu_fd_sc_mcu7t5v0_, (140,0)))
fine_line.add(gdstk.Reference(c_gf180mcu_fd_sc_mcu7t5v0__, (146.16,0)))
fine_line.add(gdstk.Reference(c_gf180mcu_fd_sc_mcu7t5v0__, (147.28,0)))
fine_line.add(gdstk.Reference(c_gf180mcu_fd_sc_mcu7t5v0__, (148.4,0)))
fine_line.add(gdstk.Reference(c_gf180mcu_fd_sc_mcu7t5v0__, (149.52,0)))
fine_line.add(gdstk.Reference(c_gf180mcu_fd_sc_mcu7t5v0__, (150.64,0)))
fine_line.add(gdstk.Reference(c_gf180mcu_fd_sc_mcu7t5v0__, (151.76,0)))
fine_line.add(gdstk.Reference(c_gf180mcu_fd_sc_mcu7t5v0__, (152.88,0)))
fine_line.add(gdstk.Reference(c_gf180mcu_fd_sc_mcu7t5v0__, (154,0)))
fine_line.add(gdstk.Reference(c_gf180mcu_fd_sc_mcu7t5v0__, (155.12,0)))
fine_line.add(gdstk.Reference(c_gf180mcu_fd_sc_mcu7t5v0__, (156.24,0)))
fine_line.add(gdstk.Reference(c_gf180mcu_fd_sc_mcu7t5v0_, (157.36,0)))
fine_line.add(gdstk.Reference(c_gf180mcu_fd_sc_mcu7t5v0___, (1.12,7.84), x_reflection=True))
fine_line.add(gdstk.Reference(c_gf180mcu_fd_sc_mcu7t5v0_, (0,7.84), x_reflection=True))
fine_line.add(gdstk.Reference(c_gf180mcu_fd_sc_mcu7t5v0_, (0,7.84)))
fine_line.add(gdstk.Reference(c_gf180mcu_fd_sc_mcu7t5v0____, (1.12,7.84)))
fine_line.add(gdstk.Reference(c_gf180mcu_fd_sc_mcu7t5v0__, (15.12,7.84)))
fine_line.add(gdstk.Reference(c_gf180mcu_fd_sc_mcu7t5v0__, (14,7.84)))
fine_line.add(gdstk.Reference(c_gf180mcu_fd_sc_mcu7t5v0__, (12.88,7.84)))
fine_line.add(gdstk.Reference(c_gf180mcu_fd_sc_mcu7t5v0__, (11.76,7.84)))
fine_line.add(gdstk.Reference(c_gf180mcu_fd_sc_mcu7t5v0__, (10.64,7.84)))
fine_line.add(gdstk.Reference(c_gf180mcu_fd_sc_mcu7t5v0__, (17.36,7.84)))
fine_line.add(gdstk.Reference(c_gf180mcu_fd_sc_mcu7t5v0__, (16.24,7.84)))
fine_line.add(gdstk.Reference(c_gf180mcu_fd_sc_mcu7t5v0__, (17.36,7.84), x_reflection=True))
fine_line.add(gdstk.Reference(c_gf180mcu_fd_sc_mcu7t5v0____, (18.48,7.84)))
fine_line.add(gdstk.Reference(c_gf180mcu_fd_sc_mcu7t5v0___, (18.48,7.84), x_reflection=True))
fine_line.add(gdstk.Reference(c_gf180mcu_fd_sc_mcu7t5v0__, (28,7.84)))
fine_line.add(gdstk.Reference(c_gf180mcu_fd_sc_mcu7t5v0__, (29.12,7.84)))
fine_line.add(gdstk.Reference(c_gf180mcu_fd_sc_mcu7t5v0__, (30.24,7.84)))
fine_line.add(gdstk.Reference(c_gf180mcu_fd_sc_mcu7t5v0__, (31.36,7.84)))
fine_line.add(gdstk.Reference(c_gf180mcu_fd_sc_mcu7t5v0__, (33.6,7.84)))
fine_line.add(gdstk.Reference(c_gf180mcu_fd_sc_mcu7t5v0__, (34.72,7.84)))
fine_line.add(gdstk.Reference(c_gf180mcu_fd_sc_mcu7t5v0__, (34.72,7.84), x_reflection=True))
fine_line.add(gdstk.Reference(c_gf180mcu_fd_sc_mcu7t5v0__, (32.48,7.84)))
fine_line.add(gdstk.Reference(c_gf180mcu_fd_sc_mcu7t5v0____, (35.84,7.84)))
fine_line.add(gdstk.Reference(c_gf180mcu_fd_sc_mcu7t5v0___, (35.84,7.84), x_reflection=True))
fine_line.add(gdstk.Reference(c_gf180mcu_fd_sc_mcu7t5v0__, (45.36,7.84)))
fine_line.add(gdstk.Reference(c_gf180mcu_fd_sc_mcu7t5v0__, (46.48,7.84)))
fine_line.add(gdstk.Reference(c_gf180mcu_fd_sc_mcu7t5v0__, (47.6,7.84)))
fine_line.add(gdstk.Reference(c_gf180mcu_fd_sc_mcu7t5v0__, (48.72,7.84)))
fine_line.add(gdstk.Reference(c_gf180mcu_fd_sc_mcu7t5v0__, (50.96,7.84)))
fine_line.add(gdstk.Reference(c_gf180mcu_fd_sc_mcu7t5v0__, (52.08,7.84)))
fine_line.add(gdstk.Reference(c_gf180mcu_fd_sc_mcu7t5v0__, (52.08,7.84), x_reflection=True))
fine_line.add(gdstk.Reference(c_gf180mcu_fd_sc_mcu7t5v0__, (49.84,7.84)))
fine_line.add(gdstk.Reference(c_gf180mcu_fd_sc_mcu7t5v0____, (53.2,7.84)))
fine_line.add(gdstk.Reference(c_gf180mcu_fd_sc_mcu7t5v0___, (53.2,7.84), x_reflection=True))
fine_line.add(gdstk.Reference(c_gf180mcu_fd_sc_mcu7t5v0__, (62.72,7.84)))
fine_line.add(gdstk.Reference(c_gf180mcu_fd_sc_mcu7t5v0__, (63.84,7.84)))
fine_line.add(gdstk.Reference(c_gf180mcu_fd_sc_mcu7t5v0__, (64.96,7.84)))
fine_line.add(gdstk.Reference(c_gf180mcu_fd_sc_mcu7t5v0__, (66.08,7.84)))
fine_line.add(gdstk.Reference(c_gf180mcu_fd_sc_mcu7t5v0__, (67.2,7.84)))
fine_line.add(gdstk.Reference(c_gf180mcu_fd_sc_mcu7t5v0__, (68.32,7.84)))
fine_line.add(gdstk.Reference(c_gf180mcu_fd_sc_mcu7t5v0__, (69.44,7.84)))
fine_line.add(gdstk.Reference(c_gf180mcu_fd_sc_mcu7t5v0__, (69.44,7.84), x_reflection=True))
fine_line.add(gdstk.Reference(c_gf180mcu_fd_sc_mcu7t5v0____, (70.56,7.84)))
fine_line.add(gdstk.Reference(c_gf180mcu_fd_sc_mcu7t5v0___, (70.56,7.84), x_reflection=True))
fine_line.add(gdstk.Reference(c_gf180mcu_fd_sc_mcu7t5v0__, (80.08,7.84)))
fine_line.add(gdstk.Reference(c_gf180mcu_fd_sc_mcu7t5v0__, (81.2,7.84)))
fine_line.add(gdstk.Reference(c_gf180mcu_fd_sc_mcu7t5v0__, (82.32,7.84)))
fine_line.add(gdstk.Reference(c_gf180mcu_fd_sc_mcu7t5v0__, (83.44,7.84)))
fine_line.add(gdstk.Reference(c_gf180mcu_fd_sc_mcu7t5v0__, (84.56,7.84)))
fine_line.add(gdstk.Reference(c_gf180mcu_fd_sc_mcu7t5v0__, (85.68,7.84)))
fine_line.add(gdstk.Reference(c_gf180mcu_fd_sc_mcu7t5v0__, (86.8,7.84)))
fine_line.add(gdstk.Reference(c_gf180mcu_fd_sc_mcu7t5v0__, (86.8,7.84), x_reflection=True))
fine_line.add(gdstk.Reference(c_gf180mcu_fd_sc_mcu7t5v0____, (87.92,7.84)))
fine_line.add(gdstk.Reference(c_gf180mcu_fd_sc_mcu7t5v0___, (87.92,7.84), x_reflection=True))
fine_line.add(gdstk.Reference(c_gf180mcu_fd_sc_mcu7t5v0__, (97.44,7.84)))
fine_line.add(gdstk.Reference(c_gf180mcu_fd_sc_mcu7t5v0__, (98.56,7.84)))
fine_line.add(gdstk.Reference(c_gf180mcu_fd_sc_mcu7t5v0__, (99.68,7.84)))
fine_line.add(gdstk.Reference(c_gf180mcu_fd_sc_mcu7t5v0__, (101.92,7.84)))
fine_line.add(gdstk.Reference(c_gf180mcu_fd_sc_mcu7t5v0__, (103.04,7.84)))
fine_line.add(gdstk.Reference(c_gf180mcu_fd_sc_mcu7t5v0__, (104.16,7.84)))
fine_line.add(gdstk.Reference(c_gf180mcu_fd_sc_mcu7t5v0__, (104.16,7.84), x_reflection=True))
fine_line.add(gdstk.Reference(c_gf180mcu_fd_sc_mcu7t5v0__, (100.8,7.84)))
fine_line.add(gdstk.Reference(c_gf180mcu_fd_sc_mcu7t5v0____, (105.28,7.84)))
fine_line.add(gdstk.Reference(c_gf180mcu_fd_sc_mcu7t5v0___, (105.28,7.84), x_reflection=True))
fine_line.add(gdstk.Reference(c_gf180mcu_fd_sc_mcu7t5v0__, (114.8,7.84)))
fine_line.add(gdstk.Reference(c_gf180mcu_fd_sc_mcu7t5v0__, (115.92,7.84)))
fine_line.add(gdstk.Reference(c_gf180mcu_fd_sc_mcu7t5v0__, (117.04,7.84)))
fine_line.add(gdstk.Reference(c_gf180mcu_fd_sc_mcu7t5v0__, (118.16,7.84)))
fine_line.add(gdstk.Reference(c_gf180mcu_fd_sc_mcu7t5v0__, (119.28,7.84)))
fine_line.add(gdstk.Reference(c_gf180mcu_fd_sc_mcu7t5v0__, (120.4,7.84)))
fine_line.add(gdstk.Reference(c_gf180mcu_fd_sc_mcu7t5v0__, (121.52,7.84)))
fine_line.add(gdstk.Reference(c_gf180mcu_fd_sc_mcu7t5v0__, (121.52,7.84), x_reflection=True))
fine_line.add(gdstk.Reference(c_gf180mcu_fd_sc_mcu7t5v0____, (122.64,7.84)))
fine_line.add(gdstk.Reference(c_gf180mcu_fd_sc_mcu7t5v0___, (122.64,7.84), x_reflection=True))
fine_line.add(gdstk.Reference(c_gf180mcu_fd_sc_mcu7t5v0__, (132.16,7.84)))
fine_line.add(gdstk.Reference(c_gf180mcu_fd_sc_mcu7t5v0__, (133.28,7.84)))
fine_line.add(gdstk.Reference(c_gf180mcu_fd_sc_mcu7t5v0__, (134.4,7.84)))
fine_line.add(gdstk.Reference(c_gf180mcu_fd_sc_mcu7t5v0__, (135.52,7.84)))
fine_line.add(gdstk.Reference(c_gf180mcu_fd_sc_mcu7t5v0__, (136.64,7.84)))
fine_line.add(gdstk.Reference(c_gf180mcu_fd_sc_mcu7t5v0__, (137.76,7.84)))
fine_line.add(gdstk.Reference(c_gf180mcu_fd_sc_mcu7t5v0__, (138.88,7.84)))
fine_line.add(gdstk.Reference(c_gf180mcu_fd_sc_mcu7t5v0__, (138.88,7.84), x_reflection=True))
fine_line.add(gdstk.Reference(c_gf180mcu_fd_sc_mcu7t5v0____, (140,7.84)))
fine_line.add(gdstk.Reference(c_gf180mcu_fd_sc_mcu7t5v0___, (140,7.84), x_reflection=True))
fine_line.add(gdstk.Reference(c_gf180mcu_fd_sc_mcu7t5v0__, (149.52,7.84)))
fine_line.add(gdstk.Reference(c_gf180mcu_fd_sc_mcu7t5v0__, (150.64,7.84)))
fine_line.add(gdstk.Reference(c_gf180mcu_fd_sc_mcu7t5v0__, (151.76,7.84)))
fine_line.add(gdstk.Reference(c_gf180mcu_fd_sc_mcu7t5v0__, (152.88,7.84)))
fine_line.add(gdstk.Reference(c_gf180mcu_fd_sc_mcu7t5v0__, (154,7.84)))
fine_line.add(gdstk.Reference(c_gf180mcu_fd_sc_mcu7t5v0__, (155.12,7.84)))
fine_line.add(gdstk.Reference(c_gf180mcu_fd_sc_mcu7t5v0__, (156.24,7.84)))
fine_line.add(gdstk.Reference(c_gf180mcu_fd_sc_mcu7t5v0__, (156.24,7.84), x_reflection=True))
fine_line.add(gdstk.Reference(c_gf180mcu_fd_sc_mcu7t5v0_, (157.36,7.84), x_reflection=True))
fine_line.add(gdstk.Reference(c_gf180mcu_fd_sc_mcu7t5v0_, (157.36,7.84)))
fine_line.add(gdstk.Label('VSTART', (2.2,9.24), layer=34, texttype=10))
fine_line.add(gdstk.Label('VSTOP', (2.1,1.41), layer=34, texttype=10))
fine_line.add(gdstk.Label('D8', (16.4,5.19), layer=34, texttype=10))
fine_line.add(gdstk.Label('D7', (33.76,5.19), layer=34, texttype=10))
fine_line.add(gdstk.Label('D6', (51.12,5.19), layer=34, texttype=10))
fine_line.add(gdstk.Label('D5', (68.48,5.19), layer=34, texttype=10))
fine_line.add(gdstk.Label('D4', (85.84,5.19), layer=34, texttype=10))
fine_line.add(gdstk.Label('D3', (103.2,5.19), layer=34, texttype=10))
fine_line.add(gdstk.Label('D2', (120.56,5.19), layer=34, texttype=10))
fine_line.add(gdstk.Label('D1', (137.92,5.19), layer=34, texttype=10))
fine_line.add(gdstk.Label('D0', (155.28,5.19), layer=34, texttype=10))
fine_line.add(gdstk.Label('VDD', (5.2,11.76), layer=34, texttype=10))
fine_line.add(gdstk.Label('VSS', (5.2,7.84), layer=34, texttype=10))

lib.write_gds('fine_line.gds')
